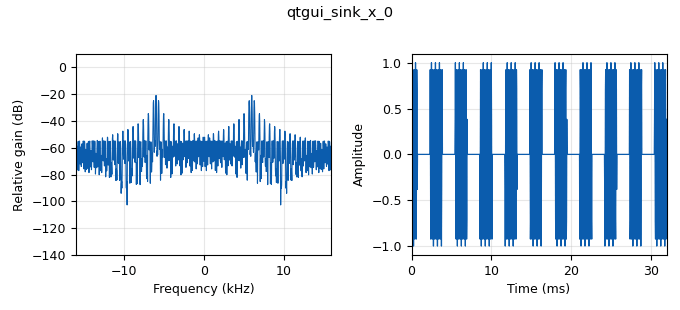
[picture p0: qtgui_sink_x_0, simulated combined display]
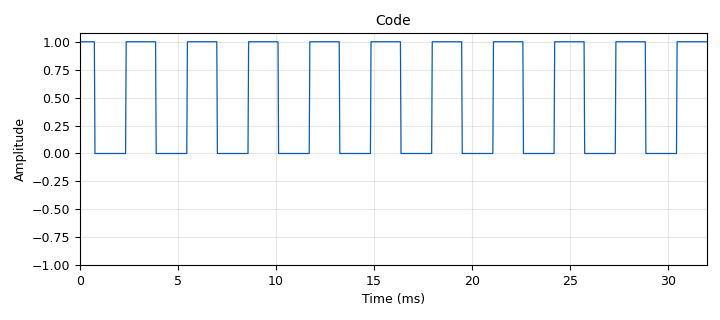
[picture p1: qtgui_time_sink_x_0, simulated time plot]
options:
  parameters:
    generate_options: qt_gui
    id: constant
    output_language: python
    title: 01-01 - Sound of the silence
  states: {}

blocks:
- name: samp_rate
  id: variable
  parameters:
    value: '32000'
  states: {}
- name: volume
  id: variable_qtgui_range
  parameters:
    label: Volume
    start: '0'
    step: '0.01'
    stop: '1'
    value: '0'
  states: {}
- name: analog_sig_source_x_0
  id: analog_sig_source_x
  parameters:
    amp: '1'
    freq: '6000'
    offset: '0'
    phase: '0'
    samp_rate: samp_rate
    type: float
    waveform: analog.GR_COS_WAVE
  states: {}
- name: audio_sink_0
  id: audio_sink
  parameters:
    device_name: pulse
    samp_rate: samp_rate
  states: {}
- name: blocks_multiply_const_vxx_0
  id: blocks_multiply_const_vxx
  parameters:
    const: volume
    type: float
  states: {}
- name: blocks_multiply_xx_0
  id: blocks_multiply_xx
  parameters:
    type: float
  states: {}
- name: blocks_throttle2_0
  id: blocks_throttle2
  parameters:
    samples_per_second: samp_rate
    type: float
  states: {}
- name: blocks_vector_source_x_0
  id: blocks_vector_source_x
  parameters:
    repeat: 'True'
    type: float
    vector: (0,0,0,0,0,0,0,0,0,0,0,0,0,0,0,0,0,0,0,0,0,0,0,0,0,0,0,0,0,0,0,0,0,0,0,0,0,0,0,0,0,0,0,0,0,0,0,0,0,0,0,1,1,1,1,1,1,1,1,1,1,1,1,1,1,1,1,1,1,1,1,1,1,1,1,1,1,1,1,1,1,1,1,1,1,1,1,1,1,1,1,1,1,1,1,1,1,1,1,1)
  states: {}
- name: qtgui_sink_x_0
  id: qtgui_sink_x
  parameters:
    bw: samp_rate
    fc: '0'
    fftsize: '1024'
    type: float
  states: {}
- name: qtgui_time_sink_x_0
  id: qtgui_time_sink_x
  parameters:
    name: Code
    size: '1024'
    srate: samp_rate
    type: float
  states: {}

connections:
- [analog_sig_source_x_0, '0', blocks_throttle2_0, '0']
- [blocks_multiply_const_vxx_0, '0', audio_sink_0, '0']
- [blocks_multiply_xx_0, '0', blocks_multiply_const_vxx_0, '0']
- [blocks_multiply_xx_0, '0', qtgui_sink_x_0, '0']
- [blocks_throttle2_0, '0', blocks_multiply_xx_0, '0']
- [blocks_vector_source_x_0, '0', blocks_multiply_xx_0, '1']
- [blocks_vector_source_x_0, '0', qtgui_time_sink_x_0, '0']

metadata:
  file_format: 1
  grc_version: 3.10.12.0
